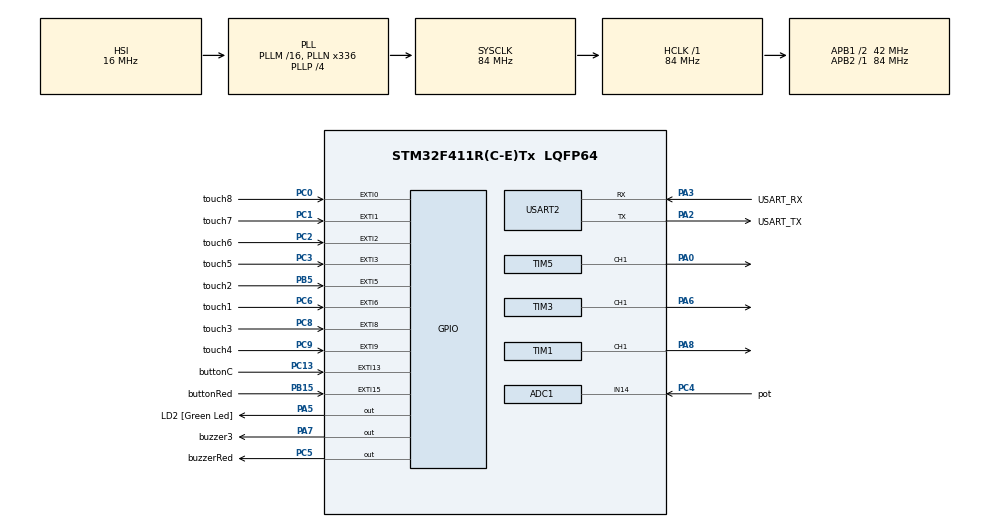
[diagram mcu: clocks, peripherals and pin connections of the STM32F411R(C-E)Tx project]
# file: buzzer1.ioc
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ADC1.Channel-2\#ChannelRegularConversion=ADC_CHANNEL_14
ADC1.ContinuousConvMode=ENABLE
ADC1.NbrOfConversionFlag=1
ADC1.Rank-2\#ChannelRegularConversion=1
ADC1.SamplingTime-2\#ChannelRegularConversion=ADC_SAMPLETIME_3CYCLES
ADC1.master=1
Dma.Request0=USART2_TX
Dma.USART2_TX.0.Direction=DMA_MEMORY_TO_PERIPH
Dma.USART2_TX.0.FIFOMode=DMA_FIFOMODE_DISABLE
Dma.USART2_TX.0.Instance=DMA1_Stream6
Dma.USART2_TX.0.MemDataAlignment=DMA_MDATAALIGN_BYTE
Dma.USART2_TX.0.MemInc=DMA_MINC_ENABLE
Dma.USART2_TX.0.Mode=DMA_NORMAL
Dma.USART2_TX.0.PeriphDataAlignment=DMA_PDATAALIGN_BYTE
Dma.USART2_TX.0.PeriphInc=DMA_PINC_DISABLE
Dma.USART2_TX.0.Priority=DMA_PRIORITY_LOW
Mcu.Family=STM32F4
Mcu.Name=STM32F411R(C-E)Tx
Mcu.Package=LQFP64
NVIC.ADC_IRQn=true\:0\:0\:false\:false\:true\:true\:true
NVIC.DMA1_Stream6_IRQn=true\:0\:0\:false\:false\:true\:false\:true
NVIC.EXTI0_IRQn=true\:0\:0\:false\:false\:true\:true\:true
NVIC.EXTI15_10_IRQn=true\:0\:0\:false\:false\:true\:true\:true
NVIC.EXTI1_IRQn=true\:0\:0\:false\:false\:true\:true\:true
NVIC.EXTI2_IRQn=true\:0\:0\:false\:false\:true\:true\:true
NVIC.EXTI3_IRQn=true\:0\:0\:false\:false\:true\:true\:true
NVIC.EXTI9_5_IRQn=true\:0\:0\:false\:false\:true\:true\:true
NVIC.PriorityGroup=NVIC_PRIORITYGROUP_0
NVIC.TIM2_IRQn=true\:0\:0\:false\:false\:true\:true\:true
NVIC.TIM4_IRQn=true\:0\:0\:false\:false\:true\:true\:true
NVIC.USART2_IRQn=true\:0\:0\:false\:false\:true\:true\:true
PA0-WKUP.Signal=S_TIM5_CH1
PA13.GPIO_Label=TMS
PA13.Mode=Serial_Wire
PA13.Signal=SYS_JTMS-SWDIO
PA14.GPIO_Label=TCK
PA14.Mode=Serial_Wire
PA14.Signal=SYS_JTCK-SWCLK
PA2.GPIO_Label=USART_TX
PA2.Mode=Asynchronous
PA2.Signal=USART2_TX
PA3.GPIO_Label=USART_RX
PA3.Mode=Asynchronous
PA3.Signal=USART2_RX
PA5.GPIO_Label=LD2 [Green Led]
PA5.Signal=GPIO_Output
PA6.Signal=S_TIM3_CH1
PA7.GPIO_Label=buzzer3
PA7.Signal=GPIO_Output
PA8.Signal=S_TIM1_CH1
PB15.GPIO_Label=buttonRed
PB15.GPIO_PuPd=GPIO_PULLDOWN
PB15.Signal=GPXTI15
PB3.GPIO_Label=SWO
PB3.Signal=SYS_JTDO-SWO
PB5.GPIO_Label=touch2
PB5.Signal=GPXTI5
PC0.GPIO_Label=touch8
PC0.GPIO_ModeDefaultEXTI=GPIO_MODE_IT_RISING
PC0.GPIO_PuPd=GPIO_PULLDOWN
PC0.Signal=GPXTI0
PC1.GPIO_Label=touch7
PC1.GPIO_ModeDefaultEXTI=GPIO_MODE_IT_RISING
PC1.GPIO_PuPd=GPIO_PULLDOWN
PC1.Signal=GPXTI1
PC13-ANTI_TAMP.GPIO_Label=buttonC
PC13-ANTI_TAMP.GPIO_ModeDefaultEXTI=GPIO_MODE_IT_FALLING
PC13-ANTI_TAMP.Signal=GPXTI13
PC14-OSC32_IN.Mode=LSE-External-Oscillator
PC14-OSC32_IN.Signal=RCC_OSC32_IN
PC15-OSC32_OUT.Mode=LSE-External-Oscillator
PC15-OSC32_OUT.Signal=RCC_OSC32_OUT
PC2.GPIO_Label=touch6
PC2.GPIO_PuPd=GPIO_PULLDOWN
PC2.Signal=GPXTI2
PC3.GPIO_Label=touch5
PC3.GPIO_PuPd=GPIO_PULLDOWN
PC3.Signal=GPXTI3
PC4.GPIO_Label=pot
PC4.Signal=ADCx_IN14
PC5.GPIO_Label=buzzerRed
PC5.Signal=GPIO_Output
PC6.GPIO_Label=touch1
PC6.GPIO_PuPd=GPIO_PULLDOWN
PC6.Signal=GPXTI6
PC8.GPIO_Label=touch3
PC8.GPIO_PuPd=GPIO_PULLDOWN
PC8.Signal=GPXTI8
PC9.GPIO_Label=touch4
PC9.GPIO_PuPd=GPIO_PULLDOWN
PC9.Signal=GPXTI9
PH0\ -\ OSC_IN.Mode=HSE-External-Clock-Source
PH0\ -\ OSC_IN.Signal=RCC_OSC_IN
PH1\ -\ OSC_OUT.Mode=HSE-External-Clock-Source
PH1\ -\ OSC_OUT.Signal=RCC_OSC_OUT
ProjectManager.HeapSize=0x200
ProjectManager.StackSize=0x400
ProjectManager.TargetToolchain=SW4STM32
RCC.48MHZClocksFreq_Value=84000000
RCC.AHBFreq_Value=84000000
RCC.APB1CLKDivider=RCC_HCLK_DIV2
RCC.APB1Freq_Value=42000000
RCC.APB1TimFreq_Value=84000000
RCC.APB2Freq_Value=84000000
RCC.APB2TimFreq_Value=84000000
RCC.CortexFreq_Value=84000000
RCC.FLatency-AdvancedSettings=FLASH_LATENCY_2
RCC.HCLKFreq_Value=84000000
RCC.HSE_VALUE=8000000
RCC.HSI_VALUE=16000000
RCC.PLLN=336
RCC.PLLP=RCC_PLLP_DIV4
RCC.SYSCLKFreq_VALUE=84000000
RCC.SYSCLKSource=RCC_SYSCLKSOURCE_PLLCLK
RCC.VCOOutputFreq_Value=336000000
SH.ADCx_IN14.0=ADC1_IN14,IN14
SH.S_TIM1_CH1.0=TIM1_CH1,PWM Generation1 CH1
SH.S_TIM3_CH1.0=TIM3_CH1,PWM Generation1 CH1
SH.S_TIM5_CH1.0=TIM5_CH1,PWM Generation1 CH1
TIM1.AutoReloadPreload=TIM_AUTORELOAD_PRELOAD_ENABLE
TIM1.Channel-PWM\ Generation1\ CH1=TIM_CHANNEL_1
TIM1.Period=2000
TIM1.Prescaler=83
TIM2.AutoReloadPreload=TIM_AUTORELOAD_PRELOAD_ENABLE
TIM2.Period=2499
TIM2.Prescaler=8399
TIM3.AutoReloadPreload=TIM_AUTORELOAD_PRELOAD_ENABLE
TIM3.Channel-PWM\ Generation1\ CH1=TIM_CHANNEL_1
TIM3.Period=2000
TIM3.Prescaler=83
TIM4.AutoReloadPreload=TIM_AUTORELOAD_PRELOAD_ENABLE
TIM4.Period=999
TIM4.Prescaler=8399
TIM5.AutoReloadPreload=TIM_AUTORELOAD_PRELOAD_ENABLE
TIM5.Channel-PWM\ Generation1\ CH1=TIM_CHANNEL_1
TIM5.Period=2000
TIM5.Prescaler=83
USART2.VirtualMode=VM_ASYNC
VP_TIM1_VS_ClockSourceINT.Mode=Internal
VP_TIM2_VS_ClockSourceINT.Mode=Internal
VP_TIM3_VS_ClockSourceINT.Mode=Internal
VP_TIM4_VS_ClockSourceINT.Mode=Internal
VP_TIM5_VS_ClockSourceINT.Mode=Internal
board=NUCLEO-F411RE

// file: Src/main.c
/* USER CODE BEGIN Header */
/**
  ******************************************************************************
  * @file           : main.c
  * @brief          : Main program body
  ******************************************************************************
  * @attention
  *
  * <h2><center>&copy; Copyright (c) 2020 STMicroelectronics.
  * All rights reserved.</center></h2>
  *
  * This software component is licensed by ST under BSD 3-Clause license,
  * the "License"; You may not use this file except in compliance with the
  * License. You may obtain a copy of the License at:
  *                        opensource.org/licenses/BSD-3-Clause
  *
  ******************************************************************************
  */
/* USER CODE END Header */

#include "main.h"
#include "adc.h"
#include "dma.h"
#include "tim.h"
#include "usart.h"
#include "gpio.h"

/* USER CODE BEGIN Includes */
#include "stdbool.h"

/* USER CODE END Includes */

/* USER CODE BEGIN PD */

#define NOTE_B0  31
#define NOTE_C1  33
#define NOTE_CS1 35
#define NOTE_D1  37
#define NOTE_DS1 39
#define NOTE_E1  41
#define NOTE_F1  44
#define NOTE_FS1 46
#define NOTE_G1  49
#define NOTE_GS1 52
#define NOTE_A1  55
#define NOTE_AS1 58
#define NOTE_B1  62
#define NOTE_C2  65
#define NOTE_CS2 69
#define NOTE_D2  73
#define NOTE_DS2 78
#define NOTE_E2  82
#define NOTE_F2  87
#define NOTE_FS2 93
#define NOTE_G2  98
#define NOTE_GS2 104
#define NOTE_A2  110
#define NOTE_AS2 117
#define NOTE_B2  123
#define NOTE_C3  131
#define NOTE_CS3 139
#define NOTE_D3  147
#define NOTE_DS3 156
#define NOTE_E3  165
#define NOTE_F3  175
#define NOTE_FS3 185
#define NOTE_G3  196
#define NOTE_GS3 208
#define NOTE_A3  220
#define NOTE_AS3 233
#define NOTE_B3  247
#define NOTE_C4  262
#define NOTE_CS4 277
#define NOTE_D4  294
#define NOTE_DS4 311
#define NOTE_E4  330
#define NOTE_F4  349
#define NOTE_FS4 370
#define NOTE_G4  392
#define NOTE_GS4 415
#define NOTE_A4  440
#define NOTE_AS4 466
#define NOTE_B4  494
#define NOTE_C5  523
#define NOTE_CS5 554
#define NOTE_D5  587
#define NOTE_DS5 622
#define NOTE_E5  659
#define NOTE_F5  698
#define NOTE_FS5 740
#define NOTE_G5  784
#define NOTE_GS5 831
#define NOTE_A5  880
#define NOTE_AS5 932
#define NOTE_B5  988
#define NOTE_C6  1047
#define NOTE_CS6 1109
#define NOTE_D6  1175
#define NOTE_DS6 1245
#define NOTE_E6  1319
#define NOTE_F6  1397
#define NOTE_FS6 1480
#define NOTE_G6  1568
#define NOTE_GS6 1661
#define NOTE_A6  1760
#define NOTE_AS6 1865
#define NOTE_B6  1976
#define NOTE_C7  2093
#define NOTE_CS7 2217
#define NOTE_D7  2349
#define NOTE_DS7 2489
#define NOTE_E7  2637
#define NOTE_F7  2794
#define NOTE_FS7 2960
#define NOTE_G7  3136
#define NOTE_GS7 3322
#define NOTE_A7  3520
#define NOTE_AS7 3729
#define NOTE_B7  3951
#define NOTE_C8  4186
#define NOTE_CS8 4435
#define NOTE_D8  4699
#define NOTE_DS8 4978

uint16_t notes[89] = {
		NOTE_B0,	// 0
		NOTE_C1,	// 1
		NOTE_CS1,	// 2
		NOTE_D1,	// 3
		NOTE_DS1,	// 4
		NOTE_E1,	// 5
		NOTE_F1,	// 6
		NOTE_FS1,	// 7
		NOTE_G1,	// 8
		NOTE_GS1,	// 9
		NOTE_A1,	// 10
		NOTE_AS1,	// 11
		NOTE_B1,	// 12
		NOTE_C2,	// 13
		NOTE_CS2,	// 14
		NOTE_D2,	// 15
		NOTE_DS2,	// 16
		NOTE_E2,	// 17
		NOTE_F2,	// 18
		NOTE_FS2,	// 19
		NOTE_G2,	// 20
		NOTE_GS2,	// 21
		NOTE_A2,	// 22
		NOTE_AS2,	// 23
		NOTE_B2,	// 24
		NOTE_C3,	// 25
		NOTE_CS3,	// 26
		NOTE_D3,	// 27
		NOTE_DS3,	// 28
		NOTE_E3,	// 29
		NOTE_F3,	// 30
		NOTE_FS3,	// 31
		NOTE_G3,	// 32
		NOTE_GS3,	// 33
		NOTE_A3,	// 34
		NOTE_AS3,	// 35
		NOTE_B3,	// 36
		NOTE_C4,	// 37
		NOTE_CS4,	// 38
		NOTE_D4,	// 39
		NOTE_DS4,	// 40
		NOTE_E4,	// 41
		NOTE_F4,	// 42
		NOTE_FS4,	// 43
		NOTE_G4,	// 44
		NOTE_GS4,	// 45
		NOTE_A4,	// 46
		NOTE_AS4,	// 47
		NOTE_B4,	// 48
		NOTE_C5,	// 49
		NOTE_CS5,	// 50
		NOTE_D5,	// 51
		NOTE_DS5,	// 52
		NOTE_E5,	// 53
		NOTE_F5,	// 54
		NOTE_FS5,	// 55
		NOTE_G5,	// 56
		NOTE_GS5,	// 57
		NOTE_A5,	// 58
		NOTE_AS5,	// 59
		NOTE_B5,	// 60
		NOTE_C6,	// 61
		NOTE_CS6,	// 62
		NOTE_D6,	// 63
		NOTE_DS6,	// 64
		NOTE_E6,	// 65
		NOTE_F6,	// 66
		NOTE_FS6,	// 67
		NOTE_G6,	// 68
		NOTE_GS6,	// 69
		NOTE_A6,	// 70
		NOTE_AS6,	// 71
		NOTE_B6,	// 72
		NOTE_C7,	// 73
		NOTE_CS7,	// 74
		NOTE_D7,	// 75
		NOTE_DS7,	// 76
		NOTE_E7,	// 77
		NOTE_F7,	// 78
		NOTE_FS7,	// 79
		NOTE_G7,	// 80
		NOTE_GS7,	// 81
		NOTE_A7,	// 82
		NOTE_AS7,	// 83
		NOTE_B7,	// 84
		NOTE_C8,	// 85
		NOTE_CS8,	// 86
		NOTE_D8,	// 87
		NOTE_DS8	// 88
};

//variables for notes (for main timer)
const uint8_t baseNote = 44;
volatile uint8_t currentNote = 44;

//convert frequency in Hz to ARR value
uint16_t freq2arr(uint32_t freq){
	return 1000000/freq;
}

//set frequency to chosen timer
void setFreq(uint32_t freq, TIM_HandleTypeDef* htim, TIM_TypeDef* t){
	uint16_t f = freq2arr(freq);
	setArr(f, t);
	__HAL_TIM_SET_COMPARE(htim, TIM_CHANNEL_1, 0.5*f);
}

//set ARR of chosen timer
void setArr(uint32_t arr, TIM_TypeDef* t){
	t->ARR=arr;
}

//turn main buzzer on
void toneOn(){
	HAL_GPIO_WritePin(buzzer3_GPIO_Port, buzzer3_Pin, GPIO_PIN_SET);
}

//turn main buzzer off
void toneOff(){
	HAL_GPIO_WritePin(buzzer3_GPIO_Port, buzzer3_Pin, GPIO_PIN_RESET);
}

//method for playing defined sequence of notes
void playSequence(uint8_t note){
	uint8_t time = 200;
	setFreq(notes[note],&htim3, TIM3);
	toneOn();
	HAL_Delay(time);
	toneOff();
	HAL_Delay(time);

	uint8_t diff = note -  baseNote ;
	uint8_t k = 4;
	if(diff==2||diff==4||diff==9||diff==11){
		k=3;
	}

	setFreq(notes[note+k],&htim3, TIM3);
	toneOn();
	HAL_Delay(time);
	toneOff();
	HAL_Delay(time);

	setFreq(notes[note+7],&htim3, TIM3);
	toneOn();
	HAL_Delay(time);
	toneOff();
	HAL_Delay(time);

	setFreq(notes[note+12],&htim3, TIM3);
	toneOn();
	HAL_Delay(time);
	toneOff();
	HAL_Delay(time);
}

/* USER CODE END PD */

/* USER CODE BEGIN PV */

//define enabling the main buzzer
bool work = false;

//define enabling second buzzer
bool work2 = false;

//additional variable declarations
uint8_t message[24];
uint16_t mlen;
uint32_t adcResult = 0;
uint32_t time1 = 0;

/* USER CODE END PV */

void SystemClock_Config(void);

int main(void)
{

  /* MCU Configuration--------------------------------------------------------*/

  /* Reset of all peripherals, Initializes the Flash interface and the Systick. */
  HAL_Init();

  /* Configure the system clock */
  SystemClock_Config();

  /* Initialize all configured peripherals */
  MX_GPIO_Init();
  MX_DMA_Init();
  MX_USART2_UART_Init();
  MX_TIM3_Init();
  MX_TIM2_Init();
  MX_ADC1_Init();
  MX_TIM4_Init();
  MX_TIM1_Init();
  MX_TIM5_Init();
  /* USER CODE BEGIN 2 */

 	//start PWM on timers
  HAL_TIM_PWM_Start(&htim3,TIM_CHANNEL_1);
  HAL_TIM_PWM_Start(&htim5,TIM_CHANNEL_1);
  HAL_TIM_Base_Start_IT(&htim2);
  HAL_TIM_Base_Start_IT(&htim4);

  //initialize main timer
  setFreq(notes[currentNote], &htim3,TIM3);

  //initialize random number generation
  srand(time(0));

  /* USER CODE END 2 */

  /* Infinite loop */
  while (1)
  {

    /* USER CODE BEGIN 3 */

	  //if main buzzer should play - play the sequence
	  if(work){
		  playSequence(currentNote);
	  }
	  else{
		  toneOff();
	  }

  }
  /* USER CODE END 3 */
}

void SystemClock_Config(void)
{
  RCC_OscInitTypeDef RCC_OscInitStruct = {0};
  RCC_ClkInitTypeDef RCC_ClkInitStruct = {0};

  /** Configure the main internal regulator output voltage
  */
  __HAL_RCC_PWR_CLK_ENABLE();
  __HAL_PWR_VOLTAGESCALING_CONFIG(PWR_REGULATOR_VOLTAGE_SCALE1);
  /** Initializes the CPU, AHB and APB busses clocks
  */
  RCC_OscInitStruct.OscillatorType = RCC_OSCILLATORTYPE_HSI;
  RCC_OscInitStruct.HSIState = RCC_HSI_ON;
  RCC_OscInitStruct.HSICalibrationValue = RCC_HSICALIBRATION_DEFAULT;
  RCC_OscInitStruct.PLL.PLLState = RCC_PLL_ON;
  RCC_OscInitStruct.PLL.PLLSource = RCC_PLLSOURCE_HSI;
  RCC_OscInitStruct.PLL.PLLM = 16;
  RCC_OscInitStruct.PLL.PLLN = 336;
  RCC_OscInitStruct.PLL.PLLP = RCC_PLLP_DIV4;
  RCC_OscInitStruct.PLL.PLLQ = 4;
  if (HAL_RCC_OscConfig(&RCC_OscInitStruct) != HAL_OK)
  {
    Error_Handler();
  }
  /** Initializes the CPU, AHB and APB busses clocks
  */
  RCC_ClkInitStruct.ClockType = RCC_CLOCKTYPE_HCLK|RCC_CLOCKTYPE_SYSCLK
                              |RCC_CLOCKTYPE_PCLK1|RCC_CLOCKTYPE_PCLK2;
  RCC_ClkInitStruct.SYSCLKSource = RCC_SYSCLKSOURCE_PLLCLK;
  RCC_ClkInitStruct.AHBCLKDivider = RCC_SYSCLK_DIV1;
  RCC_ClkInitStruct.APB1CLKDivider = RCC_HCLK_DIV2;
  RCC_ClkInitStruct.APB2CLKDivider = RCC_HCLK_DIV1;

  if (HAL_RCC_ClockConfig(&RCC_ClkInitStruct, FLASH_LATENCY_2) != HAL_OK)
  {
    Error_Handler();
  }
}

/* USER CODE BEGIN 4 */
void HAL_GPIO_EXTI_Callback(uint16_t GPIO_Pin){

	//blue embedded button
	if(GPIO_Pin==buttonC_Pin){
		HAL_GPIO_TogglePin(LD2_GPIO_Port, LD2_Pin);
		work=!work;

    //red button
	}else if(GPIO_Pin==buttonRed_Pin && HAL_GPIO_ReadPin(buttonRed_GPIO_Port, buttonRed_Pin)== GPIO_PIN_SET){
		  uint32_t time2 = HAL_GetTick();
		  if ((time2 - time1)>200)
			  work2=!work2;
		  time1 = time2;
	}

	//touchpads
	else if(GPIO_Pin==touch1_Pin&&HAL_GPIO_ReadPin(touch1_GPIO_Port, touch1_Pin)== GPIO_PIN_SET){
		currentNote = baseNote; //c
		}

	else if(GPIO_Pin==touch2_Pin&&HAL_GPIO_ReadPin(touch2_GPIO_Port, touch2_Pin)== GPIO_PIN_SET){
		currentNote = baseNote + 2; //d
		}

	else if(GPIO_Pin==touch3_Pin&&HAL_GPIO_ReadPin(touch3_GPIO_Port, touch3_Pin)== GPIO_PIN_SET){
		currentNote = baseNote + 4; //e
		}

	else if(GPIO_Pin==touch4_Pin&&HAL_GPIO_ReadPin(touch4_GPIO_Port, touch4_Pin)== GPIO_PIN_SET){
		currentNote = baseNote + 5; //f
		}

	else if(GPIO_Pin==touch5_Pin&&HAL_GPIO_ReadPin(touch5_GPIO_Port, touch5_Pin)== GPIO_PIN_SET){
		currentNote = baseNote + 7; //g
		}

	else if(GPIO_Pin==touch6_Pin&&HAL_GPIO_ReadPin(touch6_GPIO_Port, touch6_Pin)== GPIO_PIN_SET){
		currentNote = baseNote + 9; //a
		}

	else if(GPIO_Pin==touch7_Pin&&HAL_GPIO_ReadPin(touch7_GPIO_Port, touch7_Pin)== GPIO_PIN_SET){
		currentNote = baseNote + 11; //b
		}

	else if(GPIO_Pin==touch8_Pin&&HAL_GPIO_ReadPin(touch8_GPIO_Port, touch8_Pin)== GPIO_PIN_SET){
		currentNote = baseNote + 12; //c
		}

}

void HAL_TIM_PeriodElapsedCallback(TIM_HandleTypeDef *htim){

	//send data via UART
	if(htim->Instance == TIM2){
		if(work){
			uint8_t num = rand() % 5;
			uint8_t m[24];
			snprintf(m, 24, "\r     current note: %d",currentNote);
			m[num+1] = '~';
			mlen = sprintf(message, m);
			HAL_UART_Transmit_DMA(&huart2, message, mlen);
		}else{
			uint8_t m[24];
			snprintf(m, 24, "\r     current note: %d",currentNote);
			m[3] = 'x';
			mlen = sprintf(message, m);
			HAL_UART_Transmit_DMA(&huart2, message, mlen);
		}
	}

	//read analog data and enable second buzzer
	if(htim->Instance == TIM4){
		HAL_ADC_Start(&hadc1);
		HAL_ADC_PollForConversion(&hadc1, 100);
		float val = (float)HAL_ADC_GetValue(&hadc1)/4095.0;
		if (val == 1){
		    val = 0.99;
		}
		adcResult = (uint32_t)(val*13) + baseNote;
		HAL_ADC_Stop(&hadc1);
		setFreq(notes[adcResult],&htim5, TIM5);

		if(work2){
			HAL_GPIO_WritePin(buzzerRed_GPIO_Port, buzzerRed_Pin, GPIO_PIN_SET);
		}else{
			HAL_GPIO_WritePin(buzzerRed_GPIO_Port, buzzerRed_Pin, GPIO_PIN_RESET);
		}
	}
}
/* USER CODE END 4 */

void Error_Handler(void)
{
}

/************************ (C) COPYRIGHT STMicroelectronics *****END OF FILE****/
